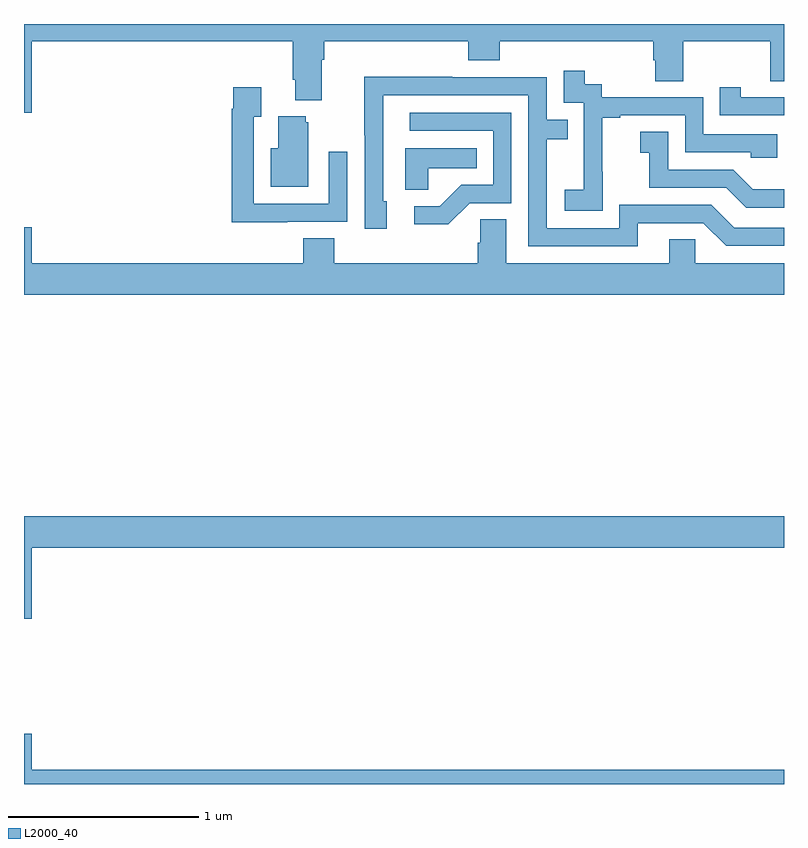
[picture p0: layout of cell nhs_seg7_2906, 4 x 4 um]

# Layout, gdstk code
import gdstk
lib = gdstk.Library(unit=1e-6, precision=1e-09)
def P(c, l, *ps):  # polygons
    for p in ps: c.add(gdstk.Polygon(p, *l))
L2000_40 = (2000, 40)

nhs_seg7_2906 = lib.new_cell('nhs_seg7_2906')
P(nhs_seg7_2906, L2000_40, [(297.04,1041.908),(298.415,1041.908),(298.415,1041.706),(298.427,1041.706),(298.427,1041.599),(298.567,1041.599),(298.567,1041.812),(298.58,1041.812),(298.58,1041.908),(299.339,1041.908),(299.339,1041.809),(299.504,1041.809),(299.504,1041.908),(300.311,1041.908),(300.311,1041.81),(300.323,1041.81),(300.323,1041.7),(300.471,1041.7),(300.471,1041.908),(300.928,1041.908),(300.928,1041.7),(301,1041.7),(301,1042),(297,1042),(297,1041.534),(297.04,1041.534)],
  [(300.045,1041.223),(300.044,1041.223),(300.044,1041.507),(300.139,1041.507),(300.139,1041.519),(300.48,1041.519),(300.48,1041.324),(300.825,1041.324),(300.825,1041.297),(300.965,1041.297),(300.965,1041.42),(300.576,1041.42),(300.576,1041.615),(300.042,1041.615),(300.042,1041.684),(299.95,1041.684),(299.95,1041.754),(299.841,1041.754),(299.841,1041.585),(299.946,1041.585),(299.946,1041.356),(299.945,1041.356),(299.945,1041.127),(299.847,1041.127),(299.847,1041.017),(300.045,1041.017)],
  [(300.229,1040.952),(300.576,1040.952),(300.696,1040.832),(301,1040.832),(301,1040.928),(300.738,1040.928),(300.618,1041.048),(300.132,1041.048),(300.132,1040.925),(299.751,1040.925),(299.751,1041.394),(299.861,1041.394),(299.861,1041.495),(299.751,1041.495),(299.751,1041.72),(299.255,1041.72),(299.255,1041.722),(298.792,1041.722),(298.792,1041.415),(298.794,1041.415),(298.794,1040.922),(298.909,1040.922),(298.909,1041.066),(298.89,1041.066),(298.89,1041.624),(299.655,1041.624),(299.655,1040.829),(300.229,1040.829)],
  [(301,1041.615),(300.772,1041.615),(300.772,1041.667),(300.661,1041.667),(300.661,1041.519),(301,1041.519)],
  [(298.385,1040.958),(298.701,1040.958),(298.701,1041.328),(298.605,1041.328),(298.605,1041.054),(298.209,1041.054),(298.209,1041.511),(298.249,1041.511),(298.249,1041.667),(298.101,1041.667),(298.101,1041.554),(298.093,1041.554),(298.093,1040.957),(298.385,1040.957)],
  [(299.346,1041.057),(299.565,1041.057),(299.565,1041.534),(299.031,1041.534),(299.031,1041.438),(299.469,1041.438),(299.469,1041.153),(299.3,1041.153),(299.189,1041.042),(299.055,1041.042),(299.055,1040.945),(299.233,1040.945)],
  [(298.495,1041.483),(298.484,1041.483),(298.484,1041.514),(298.337,1041.514),(298.337,1041.346),(298.298,1041.346),(298.298,1041.143),(298.495,1041.143)],
  [(301,1041.13),(300.836,1041.13),(300.732,1041.234),(300.39,1041.234),(300.39,1041.433),(300.243,1041.433),(300.243,1041.323),(300.292,1041.323),(300.292,1041.138),(300.695,1041.138),(300.8,1041.033),(301,1041.033)],
  [(299.127,1041.242),(299.384,1041.242),(299.384,1041.346),(299.006,1041.346),(299.006,1041.127),(299.127,1041.127)],
  [(301,1040.74),(300.534,1040.74),(300.534,1040.867),(300.395,1040.867),(300.395,1040.74),(299.539,1040.74),(299.539,1040.972),(299.4,1040.972),(299.4,1040.849),(299.387,1040.849),(299.387,1040.74),(298.634,1040.74),(298.634,1040.873),(298.469,1040.873),(298.469,1040.74),(297.04,1040.74),(297.04,1040.929),(297,1040.929),(297,1040.576),(301,1040.576)],
  [(297.04,1039.244),(301,1039.244),(301,1039.408),(297,1039.408),(297,1038.87),(297.04,1038.87)],
  [(301,1038.076),(297.04,1038.076),(297.04,1038.265),(297,1038.265),(297,1038),(301,1038)])

lib.write_gds('nhs_seg7_2906.gds')
